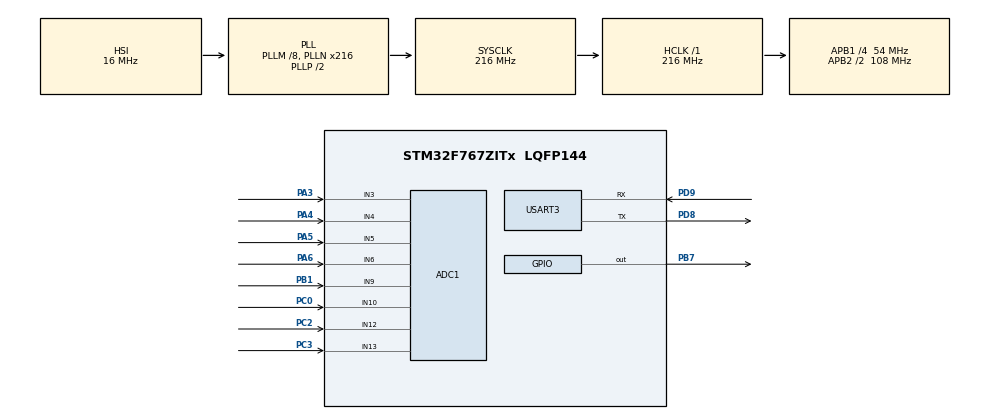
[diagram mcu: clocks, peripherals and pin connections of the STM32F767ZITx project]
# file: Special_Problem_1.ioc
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ADC1.Channel-1\#ChannelRegularConversion=ADC_CHANNEL_3
ADC1.Channel-2\#ChannelRegularConversion=ADC_CHANNEL_4
ADC1.Channel-3\#ChannelRegularConversion=ADC_CHANNEL_5
ADC1.Channel-4\#ChannelRegularConversion=ADC_CHANNEL_6
ADC1.Channel-5\#ChannelRegularConversion=ADC_CHANNEL_9
ADC1.Channel-6\#ChannelRegularConversion=ADC_CHANNEL_10
ADC1.Channel-7\#ChannelRegularConversion=ADC_CHANNEL_12
ADC1.Channel-8\#ChannelRegularConversion=ADC_CHANNEL_13
ADC1.ClockPrescaler=ADC_CLOCK_SYNC_PCLK_DIV8
ADC1.ContinuousConvMode=ENABLE
ADC1.DMAContinuousRequests=ENABLE
ADC1.DiscontinuousConvMode=DISABLE
ADC1.NbrOfConversion=8
ADC1.NbrOfConversionFlag=1
ADC1.Rank-1\#ChannelRegularConversion=1
ADC1.Rank-2\#ChannelRegularConversion=2
ADC1.Rank-3\#ChannelRegularConversion=3
ADC1.Rank-4\#ChannelRegularConversion=4
ADC1.Rank-5\#ChannelRegularConversion=5
ADC1.Rank-6\#ChannelRegularConversion=6
ADC1.Rank-7\#ChannelRegularConversion=7
ADC1.Rank-8\#ChannelRegularConversion=8
ADC1.SamplingTime-1\#ChannelRegularConversion=ADC_SAMPLETIME_3CYCLES
ADC1.SamplingTime-2\#ChannelRegularConversion=ADC_SAMPLETIME_3CYCLES
ADC1.SamplingTime-3\#ChannelRegularConversion=ADC_SAMPLETIME_3CYCLES
ADC1.SamplingTime-4\#ChannelRegularConversion=ADC_SAMPLETIME_3CYCLES
ADC1.SamplingTime-5\#ChannelRegularConversion=ADC_SAMPLETIME_3CYCLES
ADC1.SamplingTime-6\#ChannelRegularConversion=ADC_SAMPLETIME_3CYCLES
ADC1.SamplingTime-7\#ChannelRegularConversion=ADC_SAMPLETIME_3CYCLES
ADC1.SamplingTime-8\#ChannelRegularConversion=ADC_SAMPLETIME_3CYCLES
ADC1.master=1
CORTEX_M7.default_mode_Activation=1
Dma.ADC1.0.Direction=DMA_PERIPH_TO_MEMORY
Dma.ADC1.0.FIFOMode=DMA_FIFOMODE_DISABLE
Dma.ADC1.0.Instance=DMA2_Stream0
Dma.ADC1.0.MemDataAlignment=DMA_MDATAALIGN_WORD
Dma.ADC1.0.MemInc=DMA_MINC_ENABLE
Dma.ADC1.0.Mode=DMA_CIRCULAR
Dma.ADC1.0.PeriphDataAlignment=DMA_PDATAALIGN_WORD
Dma.ADC1.0.PeriphInc=DMA_PINC_DISABLE
Dma.ADC1.0.Priority=DMA_PRIORITY_LOW
Dma.Request0=ADC1
Mcu.Family=STM32F7
Mcu.Name=STM32F767ZITx
Mcu.Package=LQFP144
NVIC.DMA2_Stream0_IRQn=true\:1\:0\:true\:false\:true\:false\:true\:true
NVIC.PriorityGroup=NVIC_PRIORITYGROUP_4
PA3.Signal=ADCx_IN3
PA4.Signal=ADCx_IN4
PA5.Signal=ADCx_IN5
PA6.Signal=ADCx_IN6
PB1.Signal=ADCx_IN9
PB7.Signal=GPIO_Output
PC0.Signal=ADCx_IN10
PC2.Signal=ADCx_IN12
PC3.Signal=ADCx_IN13
PD8.Mode=Asynchronous
PD8.Signal=USART3_TX
PD9.Mode=Asynchronous
PD9.Signal=USART3_RX
ProjectManager.HeapSize=0x200
ProjectManager.StackSize=0x400
ProjectManager.TargetToolchain=STM32CubeIDE
RCC.AHBFreq_Value=216000000
RCC.APB1CLKDivider=RCC_HCLK_DIV4
RCC.APB1Freq_Value=54000000
RCC.APB1TimFreq_Value=108000000
RCC.APB2CLKDivider=RCC_HCLK_DIV2
RCC.APB2Freq_Value=108000000
RCC.APB2TimFreq_Value=216000000
RCC.CortexFreq_Value=216000000
RCC.HCLKFreq_Value=216000000
RCC.HSE_VALUE=25000000
RCC.HSI_VALUE=16000000
RCC.LSE_VALUE=32768
RCC.PLLM=8
RCC.PLLN=216
RCC.SYSCLKFreq_VALUE=216000000
RCC.SYSCLKSource=RCC_SYSCLKSOURCE_PLLCLK
RCC.USBFreq_Value=216000000
RCC.VCOOutputFreq_Value=432000000
SH.ADCx_IN10.0=ADC1_IN10,IN10
SH.ADCx_IN12.0=ADC1_IN12,IN12
SH.ADCx_IN13.0=ADC1_IN13,IN13
SH.ADCx_IN3.0=ADC1_IN3,IN3
SH.ADCx_IN4.0=ADC1_IN4,IN4
SH.ADCx_IN5.0=ADC1_IN5,IN5
SH.ADCx_IN6.0=ADC1_IN6,IN6
SH.ADCx_IN9.0=ADC1_IN9,IN9
USART3.VirtualMode-Asynchronous=VM_ASYNC
board=custom

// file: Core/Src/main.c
/* USER CODE BEGIN Header */
/**
  ******************************************************************************
  * @file           : main.c
  * @brief          : Main program body
  ******************************************************************************
  * @attention
  *
  * Copyright (c) 2025 STMicroelectronics.
  * All rights reserved.
  *
  * This software is licensed under terms that can be found in the LICENSE file
  * in the root directory of this software component.
  * If no LICENSE file comes with this software, it is provided AS-IS.
  *
  ******************************************************************************
  */
/* USER CODE END Header */
#include "main.h"
#include "adc.h"
#include "dma.h"
#include "usart.h"
#include "gpio.h"
#include "string.h"
#include "stdio.h"

/* USER CODE BEGIN PV */
volatile uint32_t adc_buffer[8];
uint32_t idx = 0;
float volt;
uint32_t value;
/* USER CODE END PV */

void SystemClock_Config(void);
static void MPU_Config(void);

/* USER CODE BEGIN 0 */
void HAL_ADC_ConvHalfCpltCallback(ADC_HandleTypeDef* hadc)
{
    if(hadc->Instance == ADC1) {
        HAL_GPIO_WritePin(GPIOB, GPIO_PIN_7, GPIO_PIN_SET); // start led
        display_uart_half((uint32_t*)adc_buffer);
        HAL_Delay(1000);
    }
}

void HAL_ADC_ConvCpltCallback(ADC_HandleTypeDef* hadc)
{
	if(hadc->Instance == ADC1) {
		HAL_GPIO_WritePin(GPIOB, GPIO_PIN_7, GPIO_PIN_RESET); // close led
		display_uart_full((uint32_t*)adc_buffer);
		HAL_Delay(1000);
	}
}

float cal_volt(uint32_t x){
	return (x*3.3f)/4095.0f;
}

void display_uart_half(uint32_t *adc_buf) {
	float vin[4];
	char show[1000];

	for (int i = 0; i < 4; i++) {
		vin[i] = cal_volt(adc_buf[i]);
	}
	sprintf(show, "HALF : ADC1_CH3 = 0x%08X Vin = %.2f \r\n ADC1_CH4 = 0x%08X Vin = %.2f \r\n ADC1_CH5 = 0x%08X Vin = %.2f \r\n ADC1_CH6 = 0x%08X Vin = %.2f \r\n\n" , adc_buf[0], vin[0], adc_buf[1], vin[1], adc_buf[2], vin[2], adc_buf[3], vin[3]);

	HAL_UART_Transmit(&huart3, (uint8_t*) show, strlen(show), 1000);
}

void display_uart_full(uint32_t *adc_buf) {
	float vin[4];
	char show[1000];
	for (int i = 0; i < 4; i++) {
		vin[i] = cal_volt(adc_buf[i]);
	}
	sprintf(show, "FULL : ADC1_CH9 = 0x%08X Vin = %.2f \r\n ADC1_CH10 = 0x%08X Vin = %.2f \r\n ADC1_CH12 = 0x%08X Vin = %.2f \r\n ADC1_CH13 = 0x%08X Vin = %.2f \r\n\n" , adc_buf[0], vin[0], adc_buf[1], vin[1], adc_buf[2], vin[2], adc_buf[3], vin[3]);

	HAL_UART_Transmit(&huart3, (uint8_t*) show, strlen(show), 1000);
}
/* USER CODE END 0 */

int main(void)
{

  /* MPU Configuration--------------------------------------------------------*/
  MPU_Config();

  /* MCU Configuration--------------------------------------------------------*/

  /* Reset of all peripherals, Initializes the Flash interface and the Systick. */
  HAL_Init();

  /* Configure the system clock */
  SystemClock_Config();

  /* Initialize all configured peripherals */
  MX_GPIO_Init();
  MX_DMA_Init();
  MX_ADC1_Init();
  MX_USART3_UART_Init();
  /* USER CODE BEGIN 2 */
  HAL_ADC_Start_DMA(&hadc1, (uint32_t*) adc_buffer, 8);
  /* USER CODE END 2 */

  /* Infinite loop */
  /* USER CODE BEGIN WHILE */
  while (1)
  {
    /* USER CODE BEGIN 3 */
  }
  /* USER CODE END WHILE */
  /* USER CODE END 3 */
}

void SystemClock_Config(void)
{
  RCC_OscInitTypeDef RCC_OscInitStruct = {0};
  RCC_ClkInitTypeDef RCC_ClkInitStruct = {0};

  /** Configure the main internal regulator output voltage
  */
  __HAL_RCC_PWR_CLK_ENABLE();
  __HAL_PWR_VOLTAGESCALING_CONFIG(PWR_REGULATOR_VOLTAGE_SCALE1);

  /** Initializes the RCC Oscillators according to the specified parameters
  * in the RCC_OscInitTypeDef structure.
  */
  RCC_OscInitStruct.OscillatorType = RCC_OSCILLATORTYPE_HSI;
  RCC_OscInitStruct.HSIState = RCC_HSI_ON;
  RCC_OscInitStruct.HSICalibrationValue = RCC_HSICALIBRATION_DEFAULT;
  RCC_OscInitStruct.PLL.PLLState = RCC_PLL_ON;
  RCC_OscInitStruct.PLL.PLLSource = RCC_PLLSOURCE_HSI;
  RCC_OscInitStruct.PLL.PLLM = 8;
  RCC_OscInitStruct.PLL.PLLN = 216;
  RCC_OscInitStruct.PLL.PLLP = RCC_PLLP_DIV2;
  RCC_OscInitStruct.PLL.PLLQ = 2;
  RCC_OscInitStruct.PLL.PLLR = 2;
  if (HAL_RCC_OscConfig(&RCC_OscInitStruct) != HAL_OK)
  {
    Error_Handler();
  }

  /** Activate the Over-Drive mode
  */
  if (HAL_PWREx_EnableOverDrive() != HAL_OK)
  {
    Error_Handler();
  }

  /** Initializes the CPU, AHB and APB buses clocks
  */
  RCC_ClkInitStruct.ClockType = RCC_CLOCKTYPE_HCLK|RCC_CLOCKTYPE_SYSCLK
                              |RCC_CLOCKTYPE_PCLK1|RCC_CLOCKTYPE_PCLK2;
  RCC_ClkInitStruct.SYSCLKSource = RCC_SYSCLKSOURCE_PLLCLK;
  RCC_ClkInitStruct.AHBCLKDivider = RCC_SYSCLK_DIV1;
  RCC_ClkInitStruct.APB1CLKDivider = RCC_HCLK_DIV4;
  RCC_ClkInitStruct.APB2CLKDivider = RCC_HCLK_DIV2;

  if (HAL_RCC_ClockConfig(&RCC_ClkInitStruct, FLASH_LATENCY_7) != HAL_OK)
  {
    Error_Handler();
  }
}

 /* MPU Configuration */

void MPU_Config(void)
{
  MPU_Region_InitTypeDef MPU_InitStruct = {0};

  /* Disables the MPU */
  HAL_MPU_Disable();

  /** Initializes and configures the Region and the memory to be protected
  */
  MPU_InitStruct.Enable = MPU_REGION_ENABLE;
  MPU_InitStruct.Number = MPU_REGION_NUMBER0;
  MPU_InitStruct.BaseAddress = 0x0;
  MPU_InitStruct.Size = MPU_REGION_SIZE_4GB;
  MPU_InitStruct.SubRegionDisable = 0x87;
  MPU_InitStruct.TypeExtField = MPU_TEX_LEVEL0;
  MPU_InitStruct.AccessPermission = MPU_REGION_NO_ACCESS;
  MPU_InitStruct.DisableExec = MPU_INSTRUCTION_ACCESS_DISABLE;
  MPU_InitStruct.IsShareable = MPU_ACCESS_SHAREABLE;
  MPU_InitStruct.IsCacheable = MPU_ACCESS_NOT_CACHEABLE;
  MPU_InitStruct.IsBufferable = MPU_ACCESS_NOT_BUFFERABLE;

  HAL_MPU_ConfigRegion(&MPU_InitStruct);
  /* Enables the MPU */
  HAL_MPU_Enable(MPU_PRIVILEGED_DEFAULT);

}

void Error_Handler(void)
{
  __disable_irq();
  while (1)
  {
  }
}
